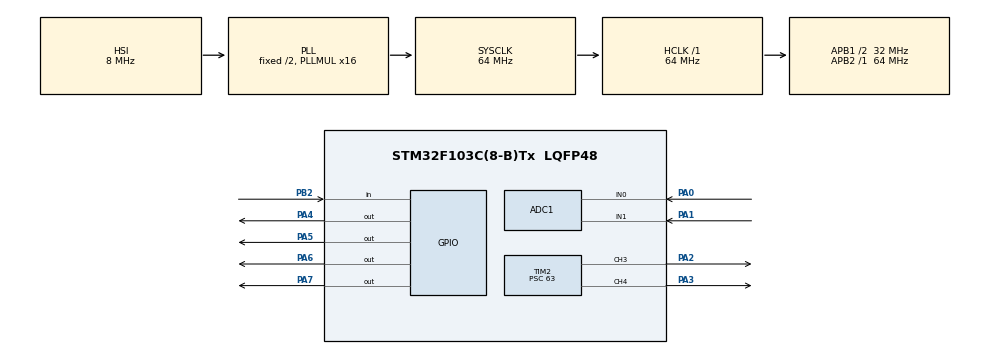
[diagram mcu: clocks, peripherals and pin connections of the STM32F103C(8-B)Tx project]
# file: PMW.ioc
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ADC1.Channel-4\#ChannelRegularConversion=ADC_CHANNEL_0
ADC1.Channel-5\#ChannelRegularConversion=ADC_CHANNEL_1
ADC1.ContinuousConvMode=ENABLE
ADC1.NbrOfConversion=2
ADC1.NbrOfConversionFlag=1
ADC1.Rank-4\#ChannelRegularConversion=1
ADC1.Rank-5\#ChannelRegularConversion=2
ADC1.SamplingTime-4\#ChannelRegularConversion=ADC_SAMPLETIME_239CYCLES_5
ADC1.SamplingTime-5\#ChannelRegularConversion=ADC_SAMPLETIME_239CYCLES_5
ADC1.master=1
Dma.ADC1.0.Direction=DMA_PERIPH_TO_MEMORY
Dma.ADC1.0.Instance=DMA1_Channel1
Dma.ADC1.0.MemDataAlignment=DMA_MDATAALIGN_HALFWORD
Dma.ADC1.0.MemInc=DMA_MINC_ENABLE
Dma.ADC1.0.Mode=DMA_CIRCULAR
Dma.ADC1.0.PeriphDataAlignment=DMA_PDATAALIGN_HALFWORD
Dma.ADC1.0.PeriphInc=DMA_PINC_DISABLE
Dma.ADC1.0.Priority=DMA_PRIORITY_LOW
Dma.Request0=ADC1
Mcu.Family=STM32F1
Mcu.Name=STM32F103C(8-B)Tx
Mcu.Package=LQFP48
NVIC.DMA1_Channel1_IRQn=true\:0\:0\:false\:false\:true\:false\:true\:true
NVIC.PriorityGroup=NVIC_PRIORITYGROUP_4
PA0-WKUP.Signal=ADCx_IN0
PA1.Signal=ADCx_IN1
PA13.Mode=Serial_Wire
PA13.Signal=SYS_JTMS-SWDIO
PA14.Mode=Serial_Wire
PA14.Signal=SYS_JTCK-SWCLK
PA2.Signal=S_TIM2_CH3
PA3.Signal=S_TIM2_CH4
PA4.Signal=GPIO_Output
PA5.Signal=GPIO_Output
PA6.Signal=GPIO_Output
PA7.Signal=GPIO_Output
PB2.Signal=GPIO_Input
ProjectManager.HeapSize=0x200
ProjectManager.StackSize=0x400
ProjectManager.TargetToolchain=MDK-ARM V5.32
RCC.ADCPresc=RCC_ADCPCLK2_DIV8
RCC.AHBFreq_Value=64000000
RCC.APB1CLKDivider=RCC_HCLK_DIV2
RCC.APB1Freq_Value=32000000
RCC.APB1TimFreq_Value=64000000
RCC.APB2Freq_Value=64000000
RCC.APB2TimFreq_Value=64000000
RCC.HCLKFreq_Value=64000000
RCC.PLLMUL=RCC_PLL_MUL16
RCC.SYSCLKFreq_VALUE=64000000
RCC.SYSCLKSource=RCC_SYSCLKSOURCE_PLLCLK
RCC.USBFreq_Value=64000000
SH.ADCx_IN0.0=ADC1_IN0,IN0
SH.ADCx_IN1.0=ADC1_IN1,IN1
SH.S_TIM2_CH3.0=TIM2_CH3,PWM Generation3 CH3
SH.S_TIM2_CH4.0=TIM2_CH4,PWM Generation4 CH4
TIM2.Channel-PWM\ Generation3\ CH3=TIM_CHANNEL_3
TIM2.Channel-PWM\ Generation4\ CH4=TIM_CHANNEL_4
TIM2.Period=19999
TIM2.Prescaler=63
VP_TIM2_VS_ClockSourceINT.Mode=Internal
board=custom

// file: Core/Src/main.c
/* USER CODE BEGIN Header */
/**
  ******************************************************************************
  * @file           : main.c
  * @brief          : Main program body
  ******************************************************************************
  * @attention
  *
  * Copyright (c) 2026 STMicroelectronics.
  * All rights reserved.
  *
  * This software is licensed under terms that can be found in the LICENSE file
  * in the root directory of this software component.
  * If no LICENSE file comes with this software, it is provided AS-IS.
  *
  ******************************************************************************
  */
/* USER CODE END Header */
#include "main.h"

/* USER CODE BEGIN Includes */
#include <math.h>
#include <stdlib.h>
/* USER CODE END Includes */

ADC_HandleTypeDef hadc1;
DMA_HandleTypeDef hdma_adc1;

TIM_HandleTypeDef htim2;

void SystemClock_Config(void);
static void MX_GPIO_Init(void);
static void MX_DMA_Init(void);
static void MX_TIM2_Init(void);
static void MX_ADC1_Init(void);

/* USER CODE BEGIN 0 */

uint16_t adc_val[2];

void Servo_Init();

void ADC_Init(){
	HAL_ADC_Start_DMA(&hadc1, (uint32_t *)adc_val, 2);
}

void Servo_Init()
{
	//HAL_TIM_PWM_Start(&htim2, TIM_CHANNEL_3);
	//__HAL_TIM_SetCompare(&htim2, TIM_CHANNEL_3, 1600);
}

uint16_t pulse;
void Servo_Write(uint8_t angle)
{
	// ccr = (max-min) * angle / 180 + min
	// servo sg90: min 0.5micros, max 2500micros
	pulse = (((2500 - 500) * angle) / 180) + 500;
	//__HAL_TIM_SetCompare(&htim2, TIM_CHANNEL_3, pulse);
}

void Motor_Init(){
	HAL_TIM_PWM_Start(&htim2, TIM_CHANNEL_3);
  HAL_TIM_PWM_Start(&htim2, TIM_CHANNEL_4);
}

void Motor_Left_Forward(void)
{
  HAL_GPIO_WritePin(GPIOA, GPIO_PIN_4, 1);
  HAL_GPIO_WritePin(GPIOA, GPIO_PIN_5, 0);
}

void Motor_Left_Backward(void)
{
  HAL_GPIO_WritePin(GPIOA, GPIO_PIN_4, 0);
  HAL_GPIO_WritePin(GPIOA, GPIO_PIN_5, 1);
}

void Motor_Right_Forward(void)
{
  HAL_GPIO_WritePin(GPIOA, GPIO_PIN_6, 1);
  HAL_GPIO_WritePin(GPIOA, GPIO_PIN_7, 0);
}

void Motor_Right_Backward(void)
{
  HAL_GPIO_WritePin(GPIOA, GPIO_PIN_6, 0);
  HAL_GPIO_WritePin(GPIOA, GPIO_PIN_7, 1);
}

void Motor_1(uint32_t speed){
	__HAL_TIM_SetCompare(&htim2, TIM_CHANNEL_3, speed);
}

void Motor_2(uint32_t speed){
	__HAL_TIM_SetCompare(&htim2, TIM_CHANNEL_4, speed);
}

void Motor_Update(uint16_t x, uint16_t y)
{
    int16_t vx = 0;
    int16_t vy = 0;

    if (x > 1900 && x < 2100) x = 2048;
    if (y > 1900 && y < 2100) y = 2048;

    vx = (int16_t)x - 2048;
    vy = (int16_t)y - 2048;

    int16_t left  = vy + vx;
    int16_t right = vy - vx;

    if (left > 2047) left = 2047;
    if (left < -2047) left = -2047;
    if (right > 2047) right = 2047;
    if (right < -2047) right = -2047;

    if (left >= 0) Motor_Left_Forward();
    else Motor_Left_Backward();

    if (right >= 0) Motor_Right_Forward();
    else Motor_Right_Backward();

    uint32_t speedL = (abs(left) * 19999) / 2047;
    uint32_t speedR = (abs(right) * 19999) / 2047;

    Motor_1(speedL);
    Motor_2(speedR);
}
/* USER CODE END 0 */

int main(void)
{

  /* MCU Configuration--------------------------------------------------------*/

  /* Reset of all peripherals, Initializes the Flash interface and the Systick. */
  HAL_Init();

  /* Configure the system clock */
  SystemClock_Config();

  /* Initialize all configured peripherals */
  MX_GPIO_Init();
  MX_DMA_Init();
  MX_TIM2_Init();
  MX_ADC1_Init();
  /* USER CODE BEGIN 2 */

	HAL_ADCEx_Calibration_Start(&hadc1);
	ADC_Init();

	Servo_Init();
	Motor_Init();

  /* USER CODE END 2 */

  /* Infinite loop */
  /* USER CODE BEGIN WHILE */
	float filtered_x = 2048;
	uint32_t speedX = 0;
	uint32_t speedY = 0;
  while (1)
  {
		uint16_t x = adc_val[0];
		uint16_t y = adc_val[1];
		Motor_Update(x, y);
		HAL_Delay(50);
    /* USER CODE END WHILE */

  }
}

void SystemClock_Config(void)
{
  RCC_OscInitTypeDef RCC_OscInitStruct = {0};
  RCC_ClkInitTypeDef RCC_ClkInitStruct = {0};
  RCC_PeriphCLKInitTypeDef PeriphClkInit = {0};

  /** Initializes the RCC Oscillators according to the specified parameters
  * in the RCC_OscInitTypeDef structure.
  */
  RCC_OscInitStruct.OscillatorType = RCC_OSCILLATORTYPE_HSI;
  RCC_OscInitStruct.HSIState = RCC_HSI_ON;
  RCC_OscInitStruct.HSICalibrationValue = RCC_HSICALIBRATION_DEFAULT;
  RCC_OscInitStruct.PLL.PLLState = RCC_PLL_ON;
  RCC_OscInitStruct.PLL.PLLSource = RCC_PLLSOURCE_HSI_DIV2;
  RCC_OscInitStruct.PLL.PLLMUL = RCC_PLL_MUL16;
  if (HAL_RCC_OscConfig(&RCC_OscInitStruct) != HAL_OK)
  {
    Error_Handler();
  }

  /** Initializes the CPU, AHB and APB buses clocks
  */
  RCC_ClkInitStruct.ClockType = RCC_CLOCKTYPE_HCLK|RCC_CLOCKTYPE_SYSCLK
                              |RCC_CLOCKTYPE_PCLK1|RCC_CLOCKTYPE_PCLK2;
  RCC_ClkInitStruct.SYSCLKSource = RCC_SYSCLKSOURCE_PLLCLK;
  RCC_ClkInitStruct.AHBCLKDivider = RCC_SYSCLK_DIV1;
  RCC_ClkInitStruct.APB1CLKDivider = RCC_HCLK_DIV2;
  RCC_ClkInitStruct.APB2CLKDivider = RCC_HCLK_DIV1;

  if (HAL_RCC_ClockConfig(&RCC_ClkInitStruct, FLASH_LATENCY_2) != HAL_OK)
  {
    Error_Handler();
  }
  PeriphClkInit.PeriphClockSelection = RCC_PERIPHCLK_ADC;
  PeriphClkInit.AdcClockSelection = RCC_ADCPCLK2_DIV8;
  if (HAL_RCCEx_PeriphCLKConfig(&PeriphClkInit) != HAL_OK)
  {
    Error_Handler();
  }
}

static void MX_ADC1_Init(void)
{

  ADC_ChannelConfTypeDef sConfig = {0};

  /** Common config
  */
  hadc1.Instance = ADC1;
  hadc1.Init.ScanConvMode = ADC_SCAN_ENABLE;
  hadc1.Init.ContinuousConvMode = ENABLE;
  hadc1.Init.DiscontinuousConvMode = DISABLE;
  hadc1.Init.ExternalTrigConv = ADC_SOFTWARE_START;
  hadc1.Init.DataAlign = ADC_DATAALIGN_RIGHT;
  hadc1.Init.NbrOfConversion = 2;
  if (HAL_ADC_Init(&hadc1) != HAL_OK)
  {
    Error_Handler();
  }

  /** Configure Regular Channel
  */
  sConfig.Channel = ADC_CHANNEL_0;
  sConfig.Rank = ADC_REGULAR_RANK_1;
  sConfig.SamplingTime = ADC_SAMPLETIME_239CYCLES_5;
  if (HAL_ADC_ConfigChannel(&hadc1, &sConfig) != HAL_OK)
  {
    Error_Handler();
  }

  /** Configure Regular Channel
  */
  sConfig.Channel = ADC_CHANNEL_1;
  sConfig.Rank = ADC_REGULAR_RANK_2;
  if (HAL_ADC_ConfigChannel(&hadc1, &sConfig) != HAL_OK)
  {
    Error_Handler();
  }

}

static void MX_TIM2_Init(void)
{

  TIM_ClockConfigTypeDef sClockSourceConfig = {0};
  TIM_MasterConfigTypeDef sMasterConfig = {0};
  TIM_OC_InitTypeDef sConfigOC = {0};

  htim2.Instance = TIM2;
  htim2.Init.Prescaler = 63;
  htim2.Init.CounterMode = TIM_COUNTERMODE_UP;
  htim2.Init.Period = 19999;
  htim2.Init.ClockDivision = TIM_CLOCKDIVISION_DIV1;
  htim2.Init.AutoReloadPreload = TIM_AUTORELOAD_PRELOAD_DISABLE;
  if (HAL_TIM_Base_Init(&htim2) != HAL_OK)
  {
    Error_Handler();
  }
  sClockSourceConfig.ClockSource = TIM_CLOCKSOURCE_INTERNAL;
  if (HAL_TIM_ConfigClockSource(&htim2, &sClockSourceConfig) != HAL_OK)
  {
    Error_Handler();
  }
  if (HAL_TIM_PWM_Init(&htim2) != HAL_OK)
  {
    Error_Handler();
  }
  sMasterConfig.MasterOutputTrigger = TIM_TRGO_RESET;
  sMasterConfig.MasterSlaveMode = TIM_MASTERSLAVEMODE_DISABLE;
  if (HAL_TIMEx_MasterConfigSynchronization(&htim2, &sMasterConfig) != HAL_OK)
  {
    Error_Handler();
  }
  sConfigOC.OCMode = TIM_OCMODE_PWM1;
  sConfigOC.Pulse = 0;
  sConfigOC.OCPolarity = TIM_OCPOLARITY_HIGH;
  sConfigOC.OCFastMode = TIM_OCFAST_DISABLE;
  if (HAL_TIM_PWM_ConfigChannel(&htim2, &sConfigOC, TIM_CHANNEL_3) != HAL_OK)
  {
    Error_Handler();
  }
  if (HAL_TIM_PWM_ConfigChannel(&htim2, &sConfigOC, TIM_CHANNEL_4) != HAL_OK)
  {
    Error_Handler();
  }
  HAL_TIM_MspPostInit(&htim2);

}

static void MX_DMA_Init(void)
{

  /* DMA controller clock enable */
  __HAL_RCC_DMA1_CLK_ENABLE();

  /* DMA interrupt init */
  /* DMA1_Channel1_IRQn interrupt configuration */
  HAL_NVIC_SetPriority(DMA1_Channel1_IRQn, 0, 0);
  HAL_NVIC_EnableIRQ(DMA1_Channel1_IRQn);

}

static void MX_GPIO_Init(void)
{
  GPIO_InitTypeDef GPIO_InitStruct = {0};

  /* GPIO Ports Clock Enable */
  __HAL_RCC_GPIOA_CLK_ENABLE();
  __HAL_RCC_GPIOB_CLK_ENABLE();

  /*Configure GPIO pin Output Level */
  HAL_GPIO_WritePin(GPIOA, GPIO_PIN_4|GPIO_PIN_5|GPIO_PIN_6|GPIO_PIN_7, GPIO_PIN_RESET);

  /*Configure GPIO pins : PA4 PA5 PA6 PA7 */
  GPIO_InitStruct.Pin = GPIO_PIN_4|GPIO_PIN_5|GPIO_PIN_6|GPIO_PIN_7;
  GPIO_InitStruct.Mode = GPIO_MODE_OUTPUT_PP;
  GPIO_InitStruct.Pull = GPIO_NOPULL;
  GPIO_InitStruct.Speed = GPIO_SPEED_FREQ_LOW;
  HAL_GPIO_Init(GPIOA, &GPIO_InitStruct);

  /*Configure GPIO pin : PB2 */
  GPIO_InitStruct.Pin = GPIO_PIN_2;
  GPIO_InitStruct.Mode = GPIO_MODE_INPUT;
  GPIO_InitStruct.Pull = GPIO_NOPULL;
  HAL_GPIO_Init(GPIOB, &GPIO_InitStruct);

}

void Error_Handler(void)
{
  __disable_irq();
  while (1)
  {
  }
}
